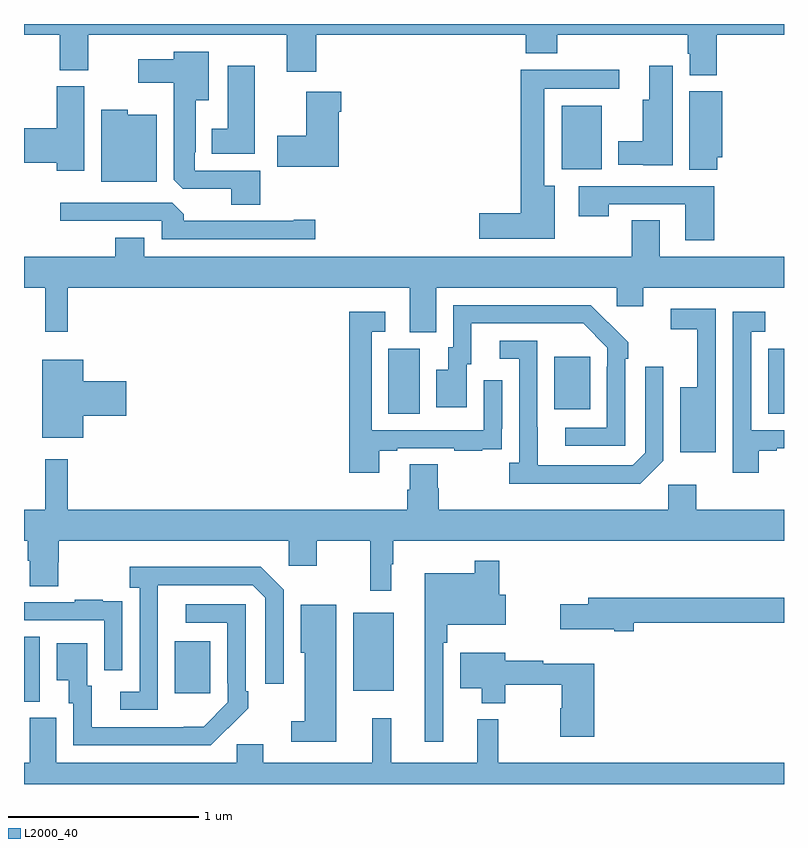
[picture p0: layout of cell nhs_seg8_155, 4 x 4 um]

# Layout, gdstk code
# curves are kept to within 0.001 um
import gdstk
lib = gdstk.Library(unit=1e-6, precision=1e-09)
def R(c, l, rs):  # rectangles x0, y0, x1, y1
    for r in rs: c.add(gdstk.rectangle(r[:2], r[2:], *l))
def P(c, l, *ps):  # polygons
    for p in ps: c.add(gdstk.Polygon(p, *l))
L2000_40 = (2000, 40)

nhs_seg8_155 = lib.new_cell('nhs_seg8_155')
R(nhs_seg8_155, L2000_40, [(121,1102.333,121.084,1102.676), (121.793,1102.377,121.981,1102.651), (122.732,1102.391,122.947,1102.801), (122.918,1103.848,123.082,1104.192), (124.916,1103.848,125,1104.192), (123.791,1103.873,123.979,1104.148), (123.83,1105.136,124.042,1105.471)])
P(nhs_seg8_155, L2000_40, [(124.646,1105.844),(125,1105.844),(125,1105.9),(121,1105.9),(121,1105.844),(121.187,1105.844),(121.187,1105.657),(121.339,1105.657),(121.339,1105.844),(122.384,1105.844),(122.384,1105.65),(122.537,1105.65),(122.537,1105.844),(123.641,1105.844),(123.641,1105.745),(123.806,1105.745),(123.806,1105.844),(124.493,1105.844),(124.493,1105.743),(124.505,1105.743),(124.505,1105.631),(124.646,1105.631)],
  [(122.243,1105.128),(121.899,1105.128),(121.899,1105.225),(121.903,1105.225),(121.903,1105.499),(121.972,1105.499),(121.972,1105.753),(121.787,1105.753),(121.787,1105.714),(121.602,1105.714),(121.602,1105.592),(121.787,1105.592),(121.787,1105.081),(121.836,1105.032),(122.09,1105.032),(122.09,1104.949),(122.243,1104.949)],
  [(122.215,1105.681),(122.072,1105.681),(122.072,1105.348),(121.988,1105.348),(121.988,1105.217),(122.215,1105.217)],
  [(124.414,1105.681),(124.292,1105.681),(124.292,1105.501),(124.256,1105.501),(124.256,1105.282),(124.127,1105.282),(124.127,1105.16),(124.26,1105.16),(124.26,1105.157),(124.414,1105.157)],
  [(123.793,1105.048),(123.739,1105.048),(123.739,1105.56),(124.132,1105.56),(124.132,1105.658),(123.614,1105.658),(123.614,1104.905),(123.396,1104.905),(123.396,1104.77),(123.793,1104.77)],
  [(121.318,1105.572),(121.172,1105.572),(121.172,1105.352),(121,1105.352),(121,1105.169),(121.172,1105.169),(121.172,1105.128),(121.318,1105.128)],
  [(124.649,1105.199),(124.675,1105.199),(124.675,1105.546),(124.502,1105.546),(124.502,1105.132),(124.649,1105.132)],
  [(122.656,1105.439),(122.669,1105.439),(122.669,1105.543),(122.486,1105.543),(122.486,1105.311),(122.334,1105.311),(122.334,1105.148),(122.656,1105.148)],
  [(121.699,1105.423),(121.545,1105.423),(121.545,1105.45),(121.406,1105.45),(121.406,1105.07),(121.699,1105.07)],
  [(124.634,1105.047),(123.921,1105.047),(123.921,1104.888),(124.077,1104.888),(124.077,1104.951),(124.481,1104.951),(124.481,1104.762),(124.634,1104.762)],
  [(122.533,1104.869),(122.42,1104.869),(122.42,1104.864),(121.841,1104.864),(121.841,1104.898),(121.779,1104.96),(121.191,1104.96),(121.191,1104.864),(121.725,1104.864),(121.725,1104.768),(122.533,1104.768)],
  [(123.169,1104.512),(124.119,1104.512),(124.119,1104.414),(124.258,1104.414),(124.258,1104.512),(125,1104.512),(125,1104.676),(124.345,1104.676),(124.345,1104.866),(124.198,1104.866),(124.198,1104.676),(121.633,1104.676),(121.633,1104.775),(121.481,1104.775),(121.481,1104.676),(121,1104.676),(121,1104.512),(121.112,1104.512),(121.112,1104.279),(121.229,1104.279),(121.229,1104.512),(123.029,1104.512),(123.029,1104.277),(123.169,1104.277)],
  [(124.164,1104.137),(124.179,1104.137),(124.179,1104.225),(123.982,1104.42),(123.258,1104.42),(123.258,1104.198),(123.233,1104.198),(123.233,1104.079),(123.17,1104.079),(123.17,1103.883),(123.331,1103.883),(123.331,1104.108),(123.355,1104.108),(123.355,1104.324),(123.943,1104.324),(124.071,1104.195),(124.071,1104.095),(124.068,1104.095),(124.068,1103.775),(123.849,1103.775),(123.849,1103.679),(124.164,1103.679)],
  [(124.642,1103.885),(124.641,1103.885),(124.641,1104.402),(124.404,1104.402),(124.404,1104.294),(124.544,1104.294),(124.544,1103.989),(124.454,1103.989),(124.454,1103.645),(124.642,1103.645)],
  [(124.867,1103.655),(124.963,1103.655),(124.963,1103.667),(125,1103.667),(125,1103.763),(124.827,1103.763),(124.827,1104.279),(124.9,1104.279),(124.9,1104.385),(124.731,1104.385),(124.731,1103.538),(124.867,1103.538)],
  [(122.869,1103.655),(122.965,1103.655),(122.965,1103.667),(123.265,1103.667),(123.265,1103.655),(123.413,1103.655),(123.413,1103.661),(123.515,1103.661),(123.515,1103.77),(123.516,1103.77),(123.516,1104.025),(123.42,1104.025),(123.42,1103.763),(122.829,1103.763),(122.829,1104.279),(122.902,1104.279),(122.902,1104.385),(122.713,1104.385),(122.713,1103.538),(122.869,1103.538)],
  [(124.365,1103.601),(124.365,1104.097),(124.269,1104.097),(124.269,1103.643),(124.203,1103.577),(123.703,1103.577),(123.702,1104.234),(123.504,1104.234),(123.504,1104.138),(123.606,1104.138),(123.606,1103.59),(123.555,1103.59),(123.555,1103.48),(124.244,1103.48)],
  [(121.312,1103.837),(121.537,1103.837),(121.537,1104.02),(121.312,1104.02),(121.312,1104.133),(121.097,1104.133),(121.097,1103.723),(121.312,1103.723)],
  [(122.932,1103.057),(122.944,1103.057),(122.944,1103.18),(125,1103.18),(125,1103.344),(124.539,1103.344),(124.539,1103.476),(124.392,1103.476),(124.392,1103.344),(123.182,1103.344),(123.182,1103.457),(123.177,1103.457),(123.177,1103.582),(123.029,1103.582),(123.029,1103.45),(123.017,1103.45),(123.017,1103.344),(121.229,1103.344),(121.229,1103.608),(121.111,1103.608),(121.111,1103.344),(121,1103.344),(121,1103.18),(121.019,1103.18),(121.019,1103.074),(121.031,1103.074),(121.031,1102.942),(121.179,1102.942),(121.179,1103.067),(121.184,1103.067),(121.184,1103.18),(122.394,1103.18),(122.394,1103.049),(122.541,1103.049),(122.541,1103.18),(122.823,1103.18),(122.823,1102.917),(122.932,1102.917)],
  [(123.207,1102.643),(123.227,1102.643),(123.227,1102.739),(123.535,1102.739),(123.535,1102.897),(123.5,1102.897),(123.5,1103.074),(123.372,1103.074),(123.372,1103.008),(123.11,1103.008),(123.11,1102.122),(123.207,1102.122)],
  [(121.704,1102.747),(121.705,1102.947),(122.205,1102.947),(122.271,1102.881),(122.271,1102.428),(122.367,1102.428),(122.367,1102.923),(122.246,1103.044),(121.557,1103.044),(121.557,1102.934),(121.608,1102.934),(121.608,1102.386),(121.506,1102.386),(121.506,1102.29),(121.704,1102.29)],
  [(124.21,1102.75),(125,1102.75),(125,1102.879),(123.971,1102.879),(123.971,1102.845),(123.822,1102.845),(123.822,1102.715),(124.106,1102.715),(124.106,1102.703),(124.21,1102.703)],
  [(121.518,1102.754),(121.517,1102.754),(121.517,1102.863),(121.415,1102.863),(121.415,1102.87),(121.267,1102.87),(121.267,1102.857),(121,1102.857),(121,1102.761),(121.422,1102.761),(121.422,1102.5),(121.518,1102.5)],
  [(122.075,1102.195),(122.076,1102.194),(122.181,1102.299),(122.181,1102.387),(122.166,1102.387),(122.166,1102.845),(121.851,1102.845),(121.851,1102.749),(122.07,1102.749),(122.07,1102.429),(122.073,1102.429),(122.073,1102.329),(121.945,1102.201),(121.357,1102.2),(121.357,1102.416),(121.333,1102.416),(121.333,1102.642),(121.172,1102.642),(121.172,1102.445),(121.235,1102.445),(121.235,1102.326),(121.26,1102.326),(121.26,1102.104),(121.984,1102.104)],
  [(122.644,1102.843),(122.456,1102.843),(122.456,1102.59),(122.477,1102.59),(122.477,1102.231),(122.406,1102.231),(122.406,1102.122),(122.644,1102.122)],
  [(124.001,1102.532),(123.734,1102.532),(123.734,1102.55),(123.532,1102.55),(123.532,1102.591),(123.296,1102.591),(123.296,1102.403),(123.41,1102.403),(123.41,1102.325),(123.532,1102.325),(123.532,1102.422),(123.83,1102.422),(123.83,1102.299),(123.823,1102.299),(123.823,1102.149),(124.001,1102.149)],
  [(125,1102.012),(123.496,1102.012),(123.496,1102.24),(123.386,1102.24),(123.386,1102.012),(122.933,1102.012),(122.933,1102.246),(122.834,1102.246),(122.834,1102.012),(122.26,1102.012),(122.26,1102.11),(122.121,1102.11),(122.121,1102.012),(121.171,1102.012),(121.171,1102.248),(121.031,1102.248),(121.031,1102.012),(121,1102.012),(121,1101.9),(125,1101.9)])

lib.write_gds('nhs_seg8_155.gds')
